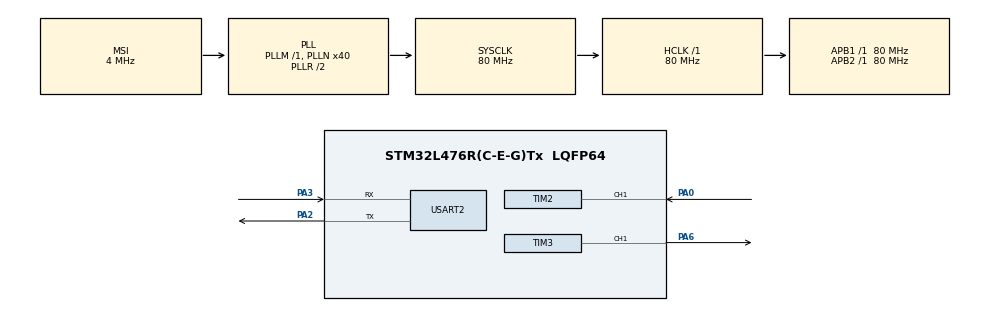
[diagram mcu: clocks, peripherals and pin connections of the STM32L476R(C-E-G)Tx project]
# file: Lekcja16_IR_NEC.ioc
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Dma.Request0=TIM3_CH1/TRIG
Dma.TIM3_CH1/TRIG.0.Direction=DMA_MEMORY_TO_PERIPH
Dma.TIM3_CH1/TRIG.0.Instance=DMA1_Channel6
Dma.TIM3_CH1/TRIG.0.MemDataAlignment=DMA_MDATAALIGN_BYTE
Dma.TIM3_CH1/TRIG.0.MemInc=DMA_MINC_ENABLE
Dma.TIM3_CH1/TRIG.0.Mode=DMA_NORMAL
Dma.TIM3_CH1/TRIG.0.PeriphDataAlignment=DMA_PDATAALIGN_HALFWORD
Dma.TIM3_CH1/TRIG.0.PeriphInc=DMA_PINC_DISABLE
Dma.TIM3_CH1/TRIG.0.Priority=DMA_PRIORITY_LOW
Mcu.Family=STM32L4
Mcu.Name=STM32L476R(C-E-G)Tx
Mcu.Package=LQFP64
NVIC.DMA1_Channel6_IRQn=true\:0\:0\:false\:false\:true\:false\:true\:true
NVIC.PriorityGroup=NVIC_PRIORITYGROUP_4
NVIC.TIM2_IRQn=true\:10\:0\:true\:false\:true\:true\:true\:true
PA0.Signal=S_TIM2_CH1
PA13\ (JTMS-SWDIO).Mode=Serial_Wire
PA13\ (JTMS-SWDIO).Signal=SYS_JTMS-SWDIO
PA14\ (JTCK-SWCLK).Mode=Serial_Wire
PA14\ (JTCK-SWCLK).Signal=SYS_JTCK-SWCLK
PA2.Mode=Asynchronous
PA2.Signal=USART2_TX
PA3.Mode=Asynchronous
PA3.Signal=USART2_RX
PA6.Signal=S_TIM3_CH1
ProjectManager.HeapSize=0x200
ProjectManager.StackSize=0x400
ProjectManager.TargetToolchain=STM32CubeIDE
RCC.AHBFreq_Value=80000000
RCC.APB1Freq_Value=80000000
RCC.APB1TimFreq_Value=80000000
RCC.APB2Freq_Value=80000000
RCC.APB2TimFreq_Value=80000000
RCC.CortexFreq_Value=80000000
RCC.HCLKFreq_Value=80000000
RCC.HSE_VALUE=8000000
RCC.HSI_VALUE=16000000
RCC.LSE_VALUE=32768
RCC.MSI_VALUE=4000000
RCC.PLLN=40
RCC.SYSCLKFreq_VALUE=80000000
RCC.SYSCLKSource=RCC_SYSCLKSOURCE_PLLCLK
RCC.VCOOutputFreq_Value=160000000
SH.S_TIM2_CH1.0=TIM2_CH1,TriggerSource_TI1ED
SH.S_TIM2_CH1.1=TIM2_CH1,Input_Capture1_from_TI1
SH.S_TIM3_CH1.0=TIM3_CH1,PWM Generation1 CH1
TIM2.Channel-Input_Capture1_from_TI1=TIM_CHANNEL_1
TIM2.ICPolarity_CH1=TIM_INPUTCHANNELPOLARITY_FALLING
TIM2.Prescaler=79
TIM3.Channel-PWM\ Generation1\ CH1=TIM_CHANNEL_1
TIM3.Period=99
USART2.VirtualMode-Asynchronous=VM_ASYNC
VP_TIM2_VS_ClockSourceINT.Mode=Internal
VP_TIM2_VS_ControllerModeReset.Mode=Reset Mode
VP_TIM3_VS_ClockSourceINT.Mode=Internal
board=custom

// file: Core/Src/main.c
/* USER CODE BEGIN Header */
/**
  ******************************************************************************
  * @file           : main.c
  * @brief          : Main program body
  ******************************************************************************
  * @attention
  *
  * Copyright (c) 2023 STMicroelectronics.
  * All rights reserved.
  *
  * This software is licensed under terms that can be found in the LICENSE file
  * in the root directory of this software component.
  * If no LICENSE file comes with this software, it is provided AS-IS.
  *
  ******************************************************************************
  */
/* USER CODE END Header */
#include "main.h"
#include "dma.h"
#include "tim.h"
#include "usart.h"
#include "gpio.h"

/* USER CODE BEGIN Includes */
#include <stdio.h>
#include <stdbool.h>
#include <stdlib.h>
#include <string.h>
#include "ir.h"
#include "ws2812b.h"
/* USER CODE END Includes */

void SystemClock_Config(void);

/* USER CODE BEGIN 0 */
int __io_putchar(int ch)
{
	if (ch == '\n')
		__io_putchar('\r');

	HAL_UART_Transmit(&huart2, (uint8_t*)&ch, 1, HAL_MAX_DELAY);

	return 1;
}

void HAL_TIM_IC_CaptureCallback(TIM_HandleTypeDef *htim)
{
	if (htim == &htim2)
	{
		switch (HAL_TIM_GetActiveChannel(&htim2))
		{
		case HAL_TIM_ACTIVE_CHANNEL_1:
			ir_tim_interrupt();
			break;
		default:
			break;
		}
	}
}

// opoznienie likwidujace problem wielokrotnego kliku tego samego przycisku
#define NEXT_CLICK_DELAY	10

// struktura do przchowywania kolorow diody led (numer leda i kolory)
typedef struct
{
	uint32_t no;
	uint8_t r;
	uint8_t g;
	uint8_t b;
	bool power;
} led_t;

// zmiana jasnosci koloru
#define BRIGHTNESS_LIMIT_UP		50
#define BRIGHTNESS_LIMIT_DOWN	0
#define BRIGHTNESS_STEP			2
void change_brightness(led_t* led, int color_number, bool dir)
{
	uint8_t* color;
	switch (color_number)
	{
	case 1:
		color = &led->r;
		break;
	case 2:
		color = &led->g;
		break;
	case 3:
		color = &led->b;
		break;
	default:
		break;
	}

	if (dir)
	{
		if (*color < BRIGHTNESS_LIMIT_UP)
			*color += BRIGHTNESS_STEP;
		else
			*color = BRIGHTNESS_LIMIT_UP;
	}
	else
	{
		if (*color > BRIGHTNESS_LIMIT_DOWN)
			*color -= BRIGHTNESS_STEP;
		else
			*color = BRIGHTNESS_LIMIT_DOWN;
	}
}

// wylaczanie ledow
void toggle_led(led_t* led)
{
	if (led->power) ws2812b_set_color(led->no, 0, 0, 0);
	else ws2812b_set_color(led->no, led->r, led->g, led->b);

	led->power = !led->power;
	ws2812b_update();
}

// inicjalizacja oraz reset ledow
void led_reset(led_t* led)
{
	led_t* pointer = led;
	for (int i=0; i<7; i++)
	{
		pointer->no = i;
		pointer->r = 2;
		pointer->g = 2;
		pointer->b = 2;
		pointer->power = true;
		ws2812b_set_color(pointer->no, pointer->r, pointer->g, pointer->b);
		pointer++;
	}
	ws2812b_update();
}

const uint8_t gamma8[] = {
    0,  0,  0,  0,  0,  0,  0,  0,  0,  0,  0,  0,  0,  0,  0,  0,
    0,  0,  0,  0,  0,  0,  0,  0,  0,  0,  0,  0,  1,  1,  1,  1,
    1,  1,  1,  1,  1,  1,  1,  1,  1,  2,  2,  2,  2,  2,  2,  2,
    2,  3,  3,  3,  3,  3,  3,  3,  4,  4,  4,  4,  4,  5,  5,  5,
    5,  6,  6,  6,  6,  7,  7,  7,  7,  8,  8,  8,  9,  9,  9, 10,
   10, 10, 11, 11, 11, 12, 12, 13, 13, 13, 14, 14, 15, 15, 16, 16,
   17, 17, 18, 18, 19, 19, 20, 20, 21, 21, 22, 22, 23, 24, 24, 25,
   25, 26, 27, 27, 28, 29, 29, 30, 31, 32, 32, 33, 34, 35, 35, 36,
   37, 38, 39, 39, 40, 41, 42, 43, 44, 45, 46, 47, 48, 49, 50, 50,
   51, 52, 54, 55, 56, 57, 58, 59, 60, 61, 62, 63, 64, 66, 67, 68,
   69, 70, 72, 73, 74, 75, 77, 78, 79, 81, 82, 83, 85, 86, 87, 89,
   90, 92, 93, 95, 96, 98, 99,101,102,104,105,107,109,110,112,114,
  115,117,119,120,122,124,126,127,129,131,133,135,137,138,140,142,
  144,146,148,150,152,154,156,158,160,162,164,167,169,171,173,175,
  177,180,182,184,186,189,191,193,196,198,200,203,205,208,210,213,
  215,218,220,223,225,228,231,233,236,239,241,244,247,249,252,255 };

// tryby automatyczne
int limit = 80;
int speed = 1;

void color_patern(int* i, bool* dir)
{
	if (*dir)
	{
		if (*i < limit) *i+=speed;
		else
		{
			*i = limit;
			*dir = false;
		}
	}
	else
	{
		if (*i > 0) *i-=speed;
		else
		{
			*i = 0;
			*dir = true;
		}
	}
}

// tryb automatyczny nr 1
void automatic_mode1(void)
{
	static bool dir = true;				// zmienne do stopniowej zmiany barwy ledow
	static int i = 0;					//

	ws2812b_set_color(0, gamma8[i], 			gamma8[i], 			gamma8[i]);
	ws2812b_set_color(1, gamma8[i], 			gamma8[i], 			gamma8[limit-i]);
	ws2812b_set_color(2, gamma8[i], 			gamma8[limit-i], 	gamma8[i]);
	ws2812b_set_color(3, gamma8[i], 			gamma8[limit-i], 	gamma8[limit-i]);
	ws2812b_set_color(4, gamma8[limit-i], 		gamma8[i], 			gamma8[i]);
	ws2812b_set_color(5, gamma8[limit-i], 		gamma8[i], 			gamma8[limit-i]);
	ws2812b_set_color(6, gamma8[limit-i], 		gamma8[limit-i], 	gamma8[i]);
	ws2812b_update();
	HAL_Delay(5);

	color_patern(&i, &dir);
}

//tryb automatyczny nr 2
void automatic_mode2(void)
{
	static bool dir_i=true, dir_j=true, dir_k=true;				// zmienne do stopniowej zmiany barwy ledow
	static int i=0, j=30, k=60;									//

	for (int m=0; m<7; m++)
		ws2812b_set_color(m, gamma8[i], gamma8[j], gamma8[k]);
	ws2812b_update();
	HAL_Delay(5);

	color_patern(&i, &dir_i);
	color_patern(&j, &dir_j);
	color_patern(&k, &dir_k);
}

//tryb automatyczny nr 3
void automatic_mode3(void)
{
	static int led_pos = 0;
	static bool dir = true;
	static uint8_t color_r = 0, color_g = 10, color_b = 20;

	ws2812b_set_color(led_pos, gamma8[color_r], gamma8[color_g], gamma8[color_b]);
	ws2812b_update();

	if (dir)
	{
		if (led_pos < 6) led_pos++;
		else
		{
			dir = !dir;
			color_r = rand()%limit;
			color_g = rand()%limit;
			color_b = rand()%limit;
		}
	}
	else
	{
		if (led_pos > 0) led_pos--;
		else
		{
			dir = !dir;
			color_r = rand()%limit;
			color_g = rand()%limit;
			color_b = rand()%limit;
		}
	}

	HAL_Delay(100);
}

//tryb automatyczny nr 4
void automatic_mode4(void)
{
	static int led_pos = 0;
	static int positions[7] = {0}, positions_left = 7;
	static uint8_t color_r = 0, color_g = 10, color_b = 20;

	ws2812b_set_color(led_pos, gamma8[color_r], gamma8[color_g], gamma8[color_b]);
	ws2812b_update();

	while(1)
	{
		led_pos = rand()%7;
		if (positions[led_pos] == 0)
		{
			positions[led_pos] = 1;
			positions_left--;
			break;
		}
		else if (positions_left == 0)
		{
			memset(&positions[0], 0, sizeof(positions));
			positions_left = 7;
			color_r = rand()%limit;
			color_g = rand()%limit;
			color_b = rand()%limit;
			break;
		}
	}

	HAL_Delay(100);
}

/* USER CODE END 0 */

int main(void)
{

  /* MCU Configuration--------------------------------------------------------*/

  /* Reset of all peripherals, Initializes the Flash interface and the Systick. */
  HAL_Init();

  /* Configure the system clock */
  SystemClock_Config();

  /* Initialize all configured peripherals */
  MX_GPIO_Init();
  MX_DMA_Init();
  MX_USART2_UART_Init();
  MX_TIM2_Init();
  MX_TIM3_Init();

  /* Infinite loop */
  /* USER CODE BEGIN WHILE */
  // inicjalizacja TIM2 jako timera mierzacego czas impulsow wyjsciowych z odbiornika IR zarowno
  // dodatnich i ujemnych
  ir_init();
  ws2812b_init();

  uint32_t last_time = HAL_GetTick();	// do odmierzania interwalu 1000ms w wysylaniu danych do konsoli po USART2
  uint32_t active_led_no = 0;			// numer wybranej diody (0...6)
  int active_color = 1;					// edytowany kolor (1-red, 2-green, 3-blue)
  int mode = 1;							// tryby pracy (1-manual pojedyncza dioda, 2-manual wszystkie diody, 3..5-automat)

  led_t led[7];
  led_reset(&led[0]);

  while (1)
  {
	  int value = ir_read();

	  switch (value)	// kod wspolny dla wszystkich trybow sterowania
	  {
	  case IR_CODE_7:
		  active_color = 1;
		  break;
	  case IR_CODE_8:
		  active_color = 2;
		  break;
	  case IR_CODE_9:
		  active_color = 3;
		  break;
	  case IR_CODE_ONOFF:
		  if (mode == 1)
			  toggle_led(&led[active_led_no]);
		  else
		  {
			  for (int i=0; i<7; i++)
			  {
				  toggle_led(&led[i]);
			  }
		  }
		  HAL_Delay(NEXT_CLICK_DELAY);
		  break;
  	  case IR_CODE_MENU:
  		  active_led_no = 0;
  		  active_color = 1;
  		  if (mode < 6) mode++;
  		  else mode = 1;
  		  led_reset(&led[0]);
  		  HAL_Delay(NEXT_CLICK_DELAY);
  		  break;
	  }

	  if (mode == 1)	// tryb sterowania pojedyncza dioda led
	  {
		  switch (value)
		  	  {
		  	  case IR_CODE_0:
		  		  active_led_no = 0;
		  		  active_color = 1;
		  		  break;
		  	  case IR_CODE_1:
		  		  active_led_no = 1;
		  		  active_color = 1;
		  		  break;
		  	  case IR_CODE_2:
		  		  active_led_no = 2;
		  		  active_color = 1;
		  		  break;
		  	  case IR_CODE_3:
		  		  active_led_no = 3;
		  		  active_color = 1;
		  		  break;
		  	  case IR_CODE_4:
		  		  active_led_no = 4;
		  		  active_color = 1;
		  		  break;
		  	  case IR_CODE_5:
		  		  active_led_no = 5;
		  		  active_color = 1;
		  		  break;
		  	  case IR_CODE_6:
		  		  active_led_no = 6;
		  		  active_color = 1;
		  		  break;
		  	  case IR_CODE_REWIND:
		  		  if (active_led_no > 0) active_led_no--;
		  		  else active_led_no = 6;
		  		  HAL_Delay(NEXT_CLICK_DELAY);
		  		  break;
		  	  case IR_CODE_FORWARD:
		  		  if (active_led_no < 6) active_led_no++;
				  else active_led_no = 0;
		  		  HAL_Delay(NEXT_CLICK_DELAY);
		  		  break;
		  	  case IR_CODE_PLUS:
		  		  change_brightness(&led[active_led_no], active_color, true);
		  		  ws2812b_set_color(led[active_led_no].no, led[active_led_no].r, led[active_led_no].g, led[active_led_no].b);
		  		  ws2812b_update();
		  		  break;
		  	  case IR_CODE_MINUS:
		  		  change_brightness(&led[active_led_no], active_color, false);
		  		  ws2812b_set_color(led[active_led_no].no, led[active_led_no].r, led[active_led_no].g, led[active_led_no].b);
		  		  ws2812b_update();
		  		  break;
		  	  }
	  }
	  else if (mode == 2)	// tryb sterowania wszystkimi diodami led
	  {
		  switch (value)
			  {
			  case IR_CODE_PLUS:
				  for (int i=0; i<7; i++)
				  {
					  change_brightness(&led[i], active_color, true);
					  ws2812b_set_color(led[i].no, led[i].r, led[i].g, led[i].b);
				  }
				  ws2812b_update();
				  break;
			  case IR_CODE_MINUS:
				  for (int i=0; i<7; i++)
				  {
					  change_brightness(&led[i], active_color, false);
					  ws2812b_set_color(led[i].no, led[i].r, led[i].g, led[i].b);
				  }
				  ws2812b_update();
				  break;
			  }
	  }
	  else if (mode == 3)				// tryb automatyczny nr 1
	  {
		  if (led[0].power) automatic_mode1();
	  }
	  else if (mode == 4)				// tryb automatyczny nr 2
	  {
		  if (led[0].power) automatic_mode2();
	  }
	  else if (mode == 5)				// tryb automatyczny nr 3
	  {
		  if (led[0].power) automatic_mode3();
	  }
	  else								// tryb automatyczny nr 4
	  {
		  if (led[0].power) automatic_mode4();
	  }

	  // pomoc przy debugowaniu - wysylanie na UART
	  if (HAL_GetTick() - last_time > 1000)
	  {
		  printf("Aktywna dioda: %lu, aktywny kolor: %d\n", active_led_no, active_color);
		  for (int i=0; i<7; i++)
		  {
			  printf("LED %d\tR: %d\tG: %d\tB: %d\t\n", i, led[i].r, led[i].g, led[i].b);
		  }
		  printf("\n");
		  last_time = HAL_GetTick();
	  }
    /* USER CODE END WHILE */

  }
}

void SystemClock_Config(void)
{
  RCC_OscInitTypeDef RCC_OscInitStruct = {0};
  RCC_ClkInitTypeDef RCC_ClkInitStruct = {0};

  /** Configure the main internal regulator output voltage
  */
  if (HAL_PWREx_ControlVoltageScaling(PWR_REGULATOR_VOLTAGE_SCALE1) != HAL_OK)
  {
    Error_Handler();
  }

  /** Initializes the RCC Oscillators according to the specified parameters
  * in the RCC_OscInitTypeDef structure.
  */
  RCC_OscInitStruct.OscillatorType = RCC_OSCILLATORTYPE_MSI;
  RCC_OscInitStruct.MSIState = RCC_MSI_ON;
  RCC_OscInitStruct.MSICalibrationValue = 0;
  RCC_OscInitStruct.MSIClockRange = RCC_MSIRANGE_6;
  RCC_OscInitStruct.PLL.PLLState = RCC_PLL_ON;
  RCC_OscInitStruct.PLL.PLLSource = RCC_PLLSOURCE_MSI;
  RCC_OscInitStruct.PLL.PLLM = 1;
  RCC_OscInitStruct.PLL.PLLN = 40;
  RCC_OscInitStruct.PLL.PLLP = RCC_PLLP_DIV7;
  RCC_OscInitStruct.PLL.PLLQ = RCC_PLLQ_DIV2;
  RCC_OscInitStruct.PLL.PLLR = RCC_PLLR_DIV2;
  if (HAL_RCC_OscConfig(&RCC_OscInitStruct) != HAL_OK)
  {
    Error_Handler();
  }

  /** Initializes the CPU, AHB and APB buses clocks
  */
  RCC_ClkInitStruct.ClockType = RCC_CLOCKTYPE_HCLK|RCC_CLOCKTYPE_SYSCLK
                              |RCC_CLOCKTYPE_PCLK1|RCC_CLOCKTYPE_PCLK2;
  RCC_ClkInitStruct.SYSCLKSource = RCC_SYSCLKSOURCE_PLLCLK;
  RCC_ClkInitStruct.AHBCLKDivider = RCC_SYSCLK_DIV1;
  RCC_ClkInitStruct.APB1CLKDivider = RCC_HCLK_DIV1;
  RCC_ClkInitStruct.APB2CLKDivider = RCC_HCLK_DIV1;

  if (HAL_RCC_ClockConfig(&RCC_ClkInitStruct, FLASH_LATENCY_4) != HAL_OK)
  {
    Error_Handler();
  }
}

void Error_Handler(void)
{
  __disable_irq();
  while (1)
  {
  }
}
